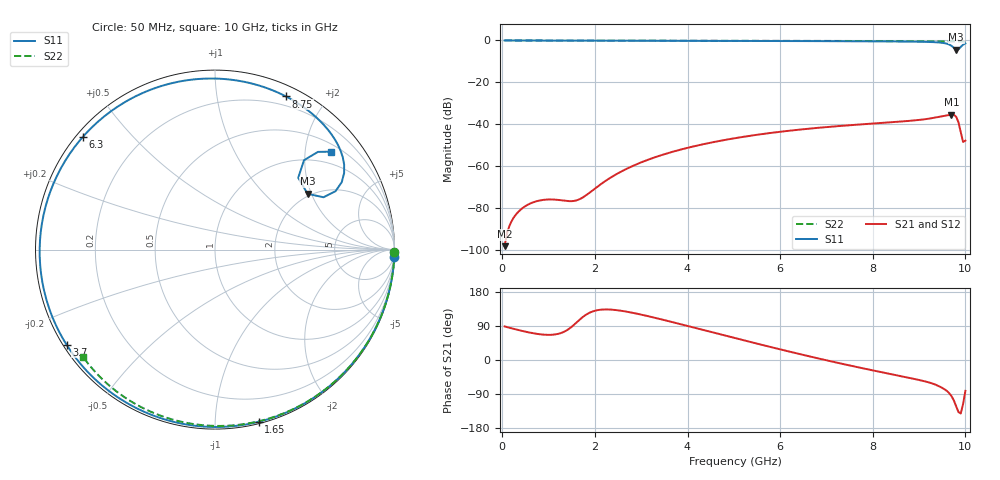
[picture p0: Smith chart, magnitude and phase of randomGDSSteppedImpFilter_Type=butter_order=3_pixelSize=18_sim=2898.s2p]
! freq	dB(S11)	phase(S11)	dB(S12)	phase(S12)
!  dB(S21)	phase(S21)	dB(S22)	phase(S22)
!S-par simulation data
#  GHz  S  DB  R 50
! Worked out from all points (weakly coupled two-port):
!   200 points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, 50 MHz to 10 GHz, reference 50 ohm
!   highest |S21| = -35.38 dB at 9.7 GHz (marker M1); lowest = -98.2 dB at 50 MHz (marker M2)
!   lowest |S11| = -4.4 dB at 9.8 GHz (marker M3), VSWR 4.03, Z = 96.3 + j93.9 ohm
!   |S11| at or under -10 dB: nowhere
!   |S22| runs from -0.5 to 0.0 dB; largest |S21 - S12| = 0
!   S11 on the Smith chart (normalised r, x): 50 MHz: 0, -46; 1.65 GHz: 0.01, -1.29; 3.7 GHz: 0.01, -0.29; 6.3 GHz: 0.02, +0.37; 8.75 GHz: 0.11, +1.56; 10 GHz: 0.67, +2.59
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0.05  -0.00 -2.5  -98.22 88.6  -98.22 88.6  -0.00 -0.8
0.45  -0.03 -21.9  -79.83 76.1  -79.83 76.1  -0.01 -7.3
0.9  -0.05 -43.0  -76.07 66.9  -76.07 66.9  -0.02 -14.6
1.65  -0.09 -75.8  -75.97 104.2  -75.97 104.2  -0.03 -26.5
1.75  -0.09 -79.8  -74.81 114.5  -74.81 114.5  -0.04 -28.1
2.55  -0.12 -110.1  -62.81 130.2  -62.81 130.2  -0.05 -40.6
3.4  -0.15 -138.2  -55.02 108.3  -55.02 108.3  -0.07 -53.5
3.7  -0.16 -147.4  -53.02 99.2  -53.02 99.2  -0.08 -57.9
4.35  -0.18 -166.3  -49.49 78.9  -49.49 78.9  -0.10 -67.4
5.05  -0.21 174.1  -46.56 57.1  -46.56 57.1  -0.12 -77.3
5.65  -0.24 157.7  -44.58 38.6  -44.58 38.6  -0.14 -85.5
6.3  -0.28 139.7  -42.85 19.2  -42.85 19.2  -0.17 -94.3
6.7  -0.31 128.4  -41.96 7.6  -41.96 7.6  -0.19 -99.5
7.55  -0.38 103.6  -40.39 -15.7  -40.39 -15.7  -0.25 -110.5
8.35  -0.46 78.5  -39.14 -36.2  -39.14 -36.2  -0.31 -120.5
8.75  -0.53 65.2  -38.47 -46.2  -38.47 -46.2  -0.34 -125.5
9.45  -1.00 38.3  -36.42 -70.4  -36.42 -70.4  -0.41 -134.2
9.7  -2.55 25.9  -35.38 -95.2  -35.38 -95.2  -0.43 -137.3
9.8  -4.41 31.1  -36.39 -121.8  -36.39 -121.8  -0.45 -138.6
9.85  -4.26 40.8  -39.04 -137.2  -39.04 -137.2  -0.45 -139.2
9.95  -2.04 43.5  -48.48 -116.1  -48.48 -116.1  -0.47 -140.4
10  -1.43 40.1  -47.83 -81.5  -47.83 -81.5  -0.47 -141.0
